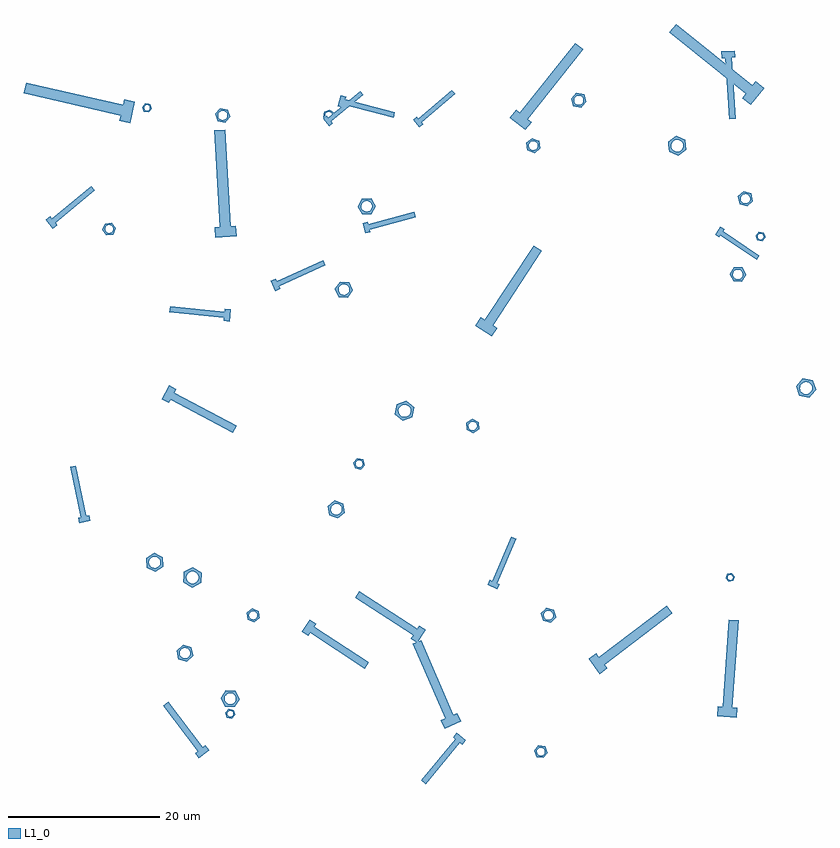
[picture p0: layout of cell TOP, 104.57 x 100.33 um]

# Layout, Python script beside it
import klayout.db as db
import math

ly = db.Layout()
ly.read("nuts_and_bolts.gds")

# arguments are: levels (-1: all), remove orphan cells
ly.top_cell().flatten(-1, True)

ly.write("flatten.gds")
